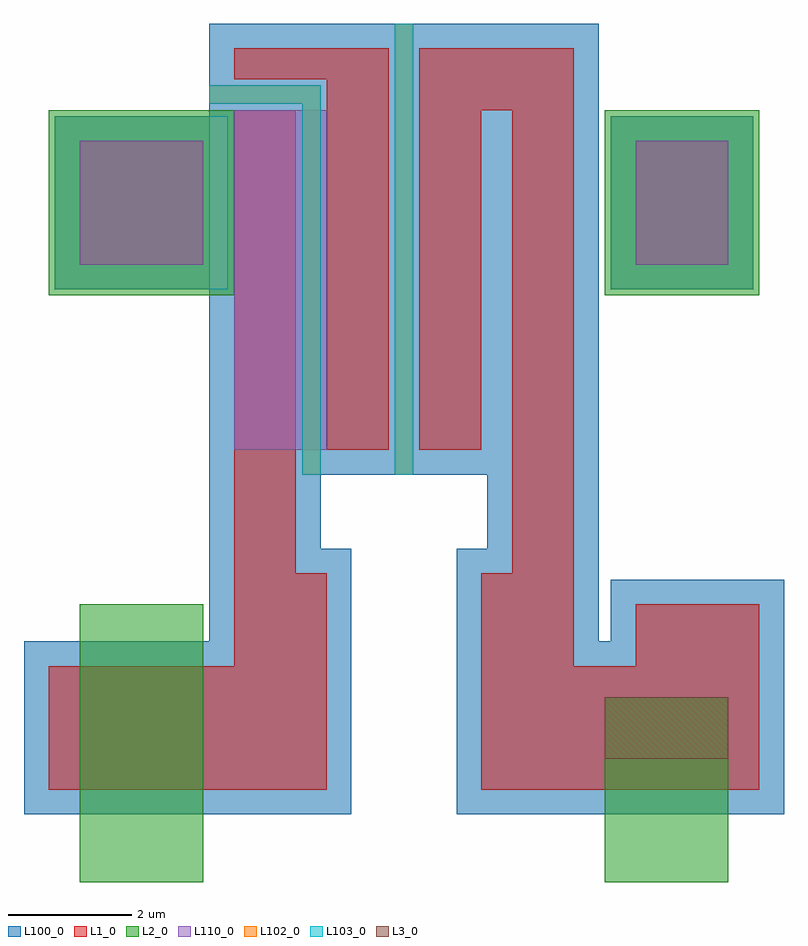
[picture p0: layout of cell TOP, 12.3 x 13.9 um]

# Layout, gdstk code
import gdstk
lib = gdstk.Library(unit=1e-6, precision=1e-09)
def R(c, l, rs):  # rectangles x0, y0, x1, y1
    for r in rs: c.add(gdstk.rectangle(r[:2], r[2:], *l))
def A(c, l, x, y, w, h, nx, ny, dx, dy):  # array of equal rectangles
    R(c, l, [(x+i*dx, y+j*dy, x+i*dx+w, y+j*dy+h) for i in range(nx) for j in range(ny)])
def P(c, l, *ps):  # polygons
    for p in ps: c.add(gdstk.Polygon(p, *l))
L1_0 = (1, 0)
L2_0 = (2, 0)
L3_0 = (3, 0)
L100_0 = (100, 0)
L102_0 = (102, 0)
L103_0 = (103, 0)
L110_0 = (110, 0)

top = lib.new_cell('TOP')
A(top, L1_0, -4.5, 0, 1, 5.5, 4, 1, 1.5, 0)
R(top, L1_0, [(-7.5,-5.5,-4.5,-3.5), (-4.5,-5.5,-3.5,0), (-3.5,-5.5,-3,-2), (-0.5,-5.5,0,-2), (0,-5.5,1,0), (1,-5.5,4,-3.5), (2,-3.5,4,-2.5), (-7,3,-5.5,5), (-6,3,-5,5), (2,3,3.5,5), (-3,5.5,-2,6.5), (-1.5,5.5,1,6.5), (-4.5,6,-3,6.5)])
R(top, L2_0, [(-7,-7,-5,-4), (1.5,-7,3.5,-4), (-7,-4,-5,-2.5), (-7.5,2.5,-5,5.5), (-5.5,2.5,-4.5,5.5), (1.5,2.5,4,5.5)])
R(top, L3_0, [(1.5,-5,3.5,-4)])
R(top, L100_0, [(-7.4,2.6,-4.6,5.4), (1.6,2.6,3.9,5.4)])
P(top, L100_0, [(-7.9,-5.9),(-7.9,-3.1),(-4.9,-3.1),(-4.9,5.9),(-3.1,5.9),(-3.1,-1.6),(-2.6,-1.6),(-2.6,-5.9)],
  [(-3.4,-0.4),(-3.4,5.6),(-4.9,5.6),(-4.9,6.9),(-1.6,6.9),(-1.6,-0.4)],
  [(-0.9,-5.9),(-0.9,-1.6),(-0.4,-1.6),(-0.4,-0.4),(-1.9,-0.4),(-1.9,6.9),(1.4,6.9),(1.4,-3.1),(1.6,-3.1),(1.6,-2.1),(4.4,-2.1),(4.4,-5.9)])
R(top, L102_0, [(-1.9,-0.4,-1.6,6.9), (-4.9,2.6,-4.6,5.4)])
P(top, L102_0, [(-3.4,-0.4),(-3.4,5.6),(-4.9,5.6),(-4.9,5.9),(-3.1,5.9),(-3.1,-0.4)])
R(top, L103_0, [(-1.9,-0.4,-1.6,6.9), (-4.9,2.6,-4.6,5.4)])
P(top, L103_0, [(-3.4,-0.4),(-3.4,5.6),(-4.9,5.6),(-4.9,5.9),(-3.1,5.9),(-3.1,-0.4)])
R(top, L110_0, [(-4.5,0,-3,5.5), (-7,3,-5,5), (2,3,3.5,5)])

lib.write_gds('TOP.gds')
